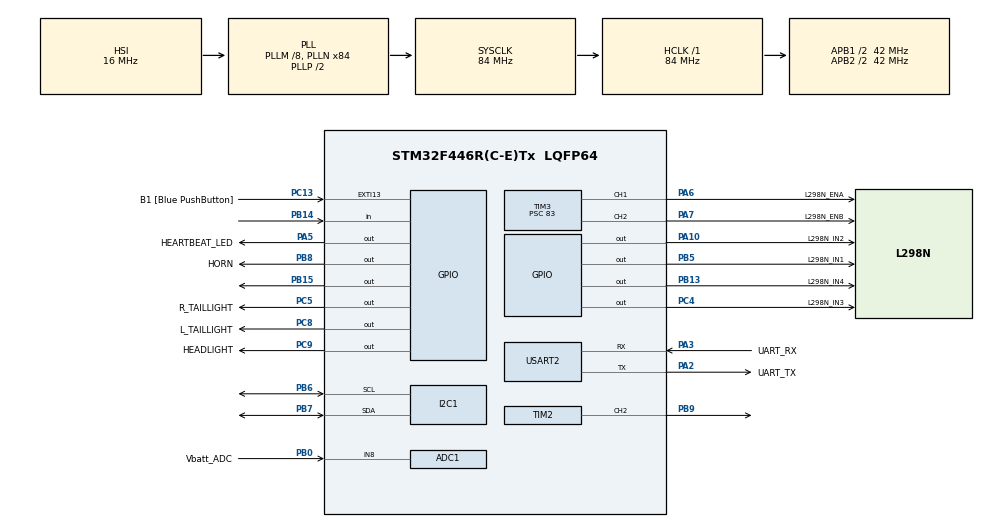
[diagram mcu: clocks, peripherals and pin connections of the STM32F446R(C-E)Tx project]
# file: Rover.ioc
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ADC1.Channel-1\#ChannelRegularConversion=ADC_CHANNEL_8
ADC1.ExternalTrigConv=ADC_EXTERNALTRIGCONV_T8_TRGO
ADC1.NbrOfConversionFlag=1
ADC1.Rank-1\#ChannelRegularConversion=1
ADC1.SamplingTime-1\#ChannelRegularConversion=ADC_SAMPLETIME_3CYCLES
ADC1.master=1
Mcu.Family=STM32F4
Mcu.Name=STM32F446R(C-E)Tx
Mcu.Package=LQFP64
NVIC.ADC_IRQn=true\:0\:0\:false\:false\:true\:true\:true\:true
NVIC.PriorityGroup=NVIC_PRIORITYGROUP_0
NVIC.TIM4_IRQn=true\:0\:0\:false\:false\:true\:true\:true\:true
NVIC.TIM8_BRK_TIM12_IRQn=true\:0\:0\:false\:false\:true\:true\:true\:true
NVIC.USART2_IRQn=true\:0\:0\:false\:false\:true\:true\:true\:true
PA10.GPIO_Label=L298N_IN2
PA10.Signal=GPIO_Output
PA13.GPIO_Label=TMS
PA13.Signal=SYS_JTMS-SWDIO
PA14.GPIO_Label=TCK
PA14.Signal=SYS_JTCK-SWCLK
PA2.GPIO_Label=UART_TX
PA2.Mode=Asynchronous
PA2.Signal=USART2_TX
PA3.GPIO_Label=UART_RX
PA3.Mode=Asynchronous
PA3.Signal=USART2_RX
PA5.GPIO_Label=HEARTBEAT_LED
PA5.Signal=GPIO_Output
PA6.GPIO_Label=L298N_ENA
PA6.Signal=S_TIM3_CH1
PA7.GPIO_Label=L298N_ENB
PA7.Signal=S_TIM3_CH2
PB0.GPIO_Label=Vbatt_ADC
PB0.Signal=ADCx_IN8
PB13.GPIO_Label=L298N_IN4
PB13.Signal=GPIO_Output
PB14.Signal=GPIO_Input
PB15.Signal=GPIO_Output
PB3.GPIO_Label=SWO
PB3.Signal=SYS_JTDO-SWO
PB5.GPIO_Label=L298N_IN1
PB5.Signal=GPIO_Output
PB6.Mode=I2C
PB6.Signal=I2C1_SCL
PB7.Mode=I2C
PB7.Signal=I2C1_SDA
PB8.GPIO_Label=HORN
PB8.Signal=GPIO_Output
PB9.Signal=S_TIM2_CH2
PC13.GPIO_Label=B1 [Blue PushButton]
PC13.GPIO_ModeDefaultEXTI=GPIO_MODE_IT_FALLING
PC13.Signal=GPXTI13
PC14-OSC32_IN.Signal=RCC_OSC32_IN
PC15-OSC32_OUT.Signal=RCC_OSC32_OUT
PC4.GPIO_Label=L298N_IN3
PC4.Signal=GPIO_Output
PC5.GPIO_Label=R_TAILLIGHT
PC5.Signal=GPIO_Output
PC8.GPIO_Label=L_TAILLIGHT
PC8.Signal=GPIO_Output
PC9.GPIO_Label=HEADLIGHT
PC9.Signal=GPIO_Output
PH0-OSC_IN.Signal=RCC_OSC_IN
PH1-OSC_OUT.Signal=RCC_OSC_OUT
ProjectManager.HeapSize=0x200
ProjectManager.StackSize=0x400
ProjectManager.TargetToolchain=STM32CubeIDE
RCC.AHBFreq_Value=84000000
RCC.APB1CLKDivider=RCC_HCLK_DIV2
RCC.APB1Freq_Value=42000000
RCC.APB1TimFreq_Value=84000000
RCC.APB2CLKDivider=RCC_HCLK_DIV2
RCC.APB2Freq_Value=42000000
RCC.APB2TimFreq_Value=84000000
RCC.CortexFreq_Value=84000000
RCC.FLatency-AdvancedSettings=FLASH_LATENCY_2
RCC.HCLKFreq_Value=84000000
RCC.HSE_VALUE=8000000
RCC.HSI_VALUE=16000000
RCC.LSE_VALUE=32768
RCC.PLLM=8
RCC.PLLN=84
RCC.SYSCLKFreq_VALUE=84000000
RCC.SYSCLKSource=RCC_SYSCLKSOURCE_PLLCLK
RCC.USBFreq_Value=84000000
RCC.VCOOutputFreq_Value=168000000
SH.ADCx_IN8.0=ADC1_IN8,IN8
SH.S_TIM2_CH2.0=TIM2_CH2,PWM Generation2 CH2
SH.S_TIM3_CH1.0=TIM3_CH1,PWM Generation1 CH1
SH.S_TIM3_CH2.0=TIM3_CH2,PWM Generation2 CH2
TIM12.Period=65535
TIM12.Prescaler=84-1
TIM2.Channel-PWM\ Generation2\ CH2=TIM_CHANNEL_2
TIM2.Period=4000-1
TIM2.Prescaler=84-1
TIM3.Channel-PWM\ Generation1\ CH1=TIM_CHANNEL_1
TIM3.Channel-PWM\ Generation2\ CH2=TIM_CHANNEL_2
TIM3.Period=3999
TIM3.Prescaler=83
TIM4.Period=500-1
TIM4.Prescaler=8400-1
TIM8.Period=10000-1
TIM8.Prescaler=840-1
TIM8.TIM_MasterOutputTrigger=TIM_TRGO_UPDATE
USART2.VirtualMode=VM_ASYNC
VP_TIM12_VS_ClockSourceINT.Mode=Internal
VP_TIM2_VS_ClockSourceINT.Mode=Internal
VP_TIM3_VS_ClockSourceINT.Mode=Internal
VP_TIM4_VS_ClockSourceINT.Mode=Internal
VP_TIM8_VS_ClockSourceINT.Mode=Internal
board=NUCLEO-F446RE

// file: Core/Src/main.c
/* USER CODE BEGIN Header */
/**
  ******************************************************************************
  * @file           : main.c
  * @brief          : Main program body
  ******************************************************************************
  * @attention
  *
  * Copyright (c) 2025 STMicroelectronics.
  * All rights reserved.
  *
  * This software is licensed under terms that can be found in the LICENSE file
  * in the root directory of this software component.
  * If no LICENSE file comes with this software, it is provided AS-IS.
  *
  ******************************************************************************
  */
/* USER CODE END Header */
#include "main.h"
#include "adc.h"
#include "i2c.h"
#include "tim.h"
#include "usart.h"
#include "gpio.h"

/* USER CODE BEGIN Includes */
#include <stdint.h>
#include <stdio.h>
#include <string.h>
#include "Command_Process.h"
#include "liquidcrystal_i2c.h"
#include "motor.h"
/* USER CODE END Includes */

/* USER CODE BEGIN PV */

// LED VARRIBLES
//No longer needed, due to being defined in motor?
//uint8_t left_turn_active = 0; // for turn signals, 0 = off, 1 = blinking
//uint8_t right_turn_active = 0;
uint8_t horn = 0;

uint8_t stop_distance = 75; // in cm ok

uint8_t turn_around_time = 3600;

#define TRIG_PIN GPIO_PIN_15
#define TRIG_PORT GPIOB
#define ECHO_PIN GPIO_PIN_14
#define ECHO_PORT GPIOB
uint32_t pMillis;
uint32_t Value1 = 0;
uint32_t Value2 = 0;
uint16_t Distance  = 0;  // cm
char buffer[6];
uint32_t servo_millis=0;
uint32_t servo_state=0; //State 2 is left or right, state 1 is forward.
// These time variables are used to determine how long it takes the rover to
// get to the end of the hallway, then run for that amount of time on the way back.
uint32_t startTime = 0;
uint32_t stopTime = 0;
uint32_t diffTime = 0;

// enum for the robot movement state machines
typedef enum {
    STATE_DRIVING_FORWARD,
	STATE_PAUSING_To_TURN,
	STATE_STOP_TURNING,
	STATE_DRIVING_BACK,
	STATE_PURELY_PAUSING
} RobotState;

RobotState robot_state = STATE_DRIVING_FORWARD; // start the state machine in driving forwards
uint32_t   motor_millis = 0;

/* USER CODE END PV */

void SystemClock_Config(void);

/* USER CODE BEGIN 0 */

// LED CODE WE HAD ISSUES WITH THIS DURING TESTING THE BRAKE LIGHTS
// COMMENTING IT OUT FIXED THE ISSUES SHOULD CONSIDER REMOVING IT SOON

//void HAL_TIM_PeriodElapsedCallback(TIM_HandleTypeDef *htim) {
//	if (htim->Instance == TIM4) {
//	if (left_turn_active) {
//	HAL_GPIO_TogglePin(L_TAILLIGHT_GPIO_Port, L_TAILLIGHT_Pin);
//	}
//	else {
//	// Make sure the light is forced off when not turning
//	// HAL_GPIO_WritePin(L_TAILLIGHT_GPIO_Port, L_TAILLIGHT_Pin, GPIO_PIN_RESET);
//		HAL_GPIO_WritePin(L_TAILLIGHT_GPIO_Port, L_TAILLIGHT_Pin, GPIO_PIN_RESET);
//	}
//	if (right_turn_active) {
//	HAL_GPIO_TogglePin(R_TAILLIGHT_GPIO_Port, R_TAILLIGHT_Pin);
//	}
//	else {
//	// HAL_GPIO_WritePin(R_TAILLIGHT_GPIO_Port, R_TAILLIGHT_Pin, GPIO_PIN_RESET);
//		HAL_GPIO_WritePin(R_TAILLIGHT_GPIO_Port, R_TAILLIGHT_Pin, GPIO_PIN_RESET);
//	}
//
//	// horn
//	if (horn) {
//	HAL_GPIO_TogglePin(HORN_GPIO_Port, HORN_Pin);
//	} else {
//	// HAL_GPIO_WritePin(HORN_GPIO_Port, HORN_Pin, GPIO_PIN_RESET);
//		HAL_GPIO_WritePin(HORN_GPIO_Port, HORN_Pin, GPIO_PIN_RESET);
//				}
//	}
//}

// READ ULTRA PINGER
float readaltra(void){

	HAL_GPIO_WritePin(TRIG_PORT, TRIG_PIN, GPIO_PIN_SET);  // pull the TRIG pin HIGH
	__HAL_TIM_SET_COUNTER(&htim12, 0);
	while (__HAL_TIM_GET_COUNTER (&htim12) < 10);  // wait for 10 us
	HAL_GPIO_WritePin(TRIG_PORT, TRIG_PIN, GPIO_PIN_RESET);  // pull the TRIG pin low

	pMillis = HAL_GetTick(); // used this to avoid infinite while loop  (for timeout)
	// wait for the echo pin to go high
	while (!(HAL_GPIO_ReadPin (ECHO_PORT, ECHO_PIN)) && pMillis + 10 >  HAL_GetTick());
	Value1 = __HAL_TIM_GET_COUNTER (&htim12);

	pMillis = HAL_GetTick(); // used this to avoid infinite while loop (for timeout)
	// wait for the echo pin to go low
	while ((HAL_GPIO_ReadPin (ECHO_PORT, ECHO_PIN)) && pMillis + 50 > HAL_GetTick());
	Value2 = __HAL_TIM_GET_COUNTER (&htim12);

	Distance = (Value2-Value1)* 0.034/2;

	snprintf(buffer, sizeof(buffer), "%d", Distance);
	char out[16];
	snprintf(out, sizeof(out), " %s\r\n", buffer);
//	HAL_Delay(50);
//	print("%s", out);

//	HD44780_Clear();
//	HD44780_SetCursor(0,0);
//	HD44780_PrintStr(buffer);
//	HAL_Delay(50);
//	__enable_irq();
	return Distance;
}

// SERVO CODE TO PING ON WAY DOWN

void moveServo_right_forward(void){

	//Non-blocking version of the code
	if (servo_millis == 0){
		servo_millis = HAL_GetTick();
		servo_state = 1;
	}
	else if (HAL_GetTick() - servo_millis >= 800  && servo_state == 1){
		__HAL_TIM_SET_COMPARE(&htim2, TIM_CHANNEL_2, 500);   // ~0°
		servo_millis = HAL_GetTick(); //Reset Back to 0
		servo_state = 2;
	}
	else if (HAL_GetTick() - servo_millis >= 1400 && servo_state == 2){
		__HAL_TIM_SET_COMPARE(&htim2, TIM_CHANNEL_2, 1500);   // ~90°
		servo_millis = HAL_GetTick();
		servo_state = 1;
	}

//	if(servo_millis- HAL_GetTick())

}

// SERVO CODE TO PING ON WAY BACK

void moveServo_left_forward(void){
	if (servo_millis == 0){
			servo_millis = HAL_GetTick();
			servo_state = 1;
	}
else if (HAL_GetTick() - servo_millis >= 800 && servo_state == 1){
		__HAL_TIM_SET_COMPARE(&htim2, TIM_CHANNEL_2, 2500);   // ~180°
		servo_millis = HAL_GetTick(); //Reset Back to 0
		servo_state = 2;
	}
	else if (HAL_GetTick() - servo_millis >= 1400 && servo_state == 2){
		__HAL_TIM_SET_COMPARE(&htim2, TIM_CHANNEL_2, 1500);   // ~90°
		servo_millis = HAL_GetTick(); //Reset Back to 0
		servo_state = 1;
	}
}

// BATTERY MONITORING FUNCTION THAT KILLS ROBOT IF LOW POWER

void battery_voltage_shutdown(void){
	// bat mon shut down stuff
			float voltage = getBatteryVoltage();

			if (voltage < 6.0f && voltage > 1.0f) {
			HAL_TIM_PWM_Stop(&htim3, TIM_CHANNEL_1);
			HAL_TIM_PWM_Stop(&htim3, TIM_CHANNEL_2);
			int millivolts = (int)(voltage * 1000.0f + 0.5f);
						int volts = millivolts / 1000;
						int frac = millivolts % 1000;
						print(" %d.%03d\r\n", volts, frac);

			// Pls Turn off lights.
			while (1==1){
			//Die XP
			}
			}

}

void TurnSignals(void) { //Credit goes to grok.
    static uint32_t t_turn = 0;
    static uint8_t  blink_on = 0;

    // Same 250 ms cadence as HeartBeat
    if (HAL_GetTick() >= t_turn) {
        blink_on = !blink_on;
        t_turn += 250;
    }

    // Brake lights take priority — solid on, no blinking
    // (BREAKLIGHTS() already forces both pins; we just don't override them here
    //  if you call this only when not braking. Or explicitly:)
    if (left_turn_active && !right_turn_active) {
        HAL_GPIO_WritePin(L_TAILLIGHT_GPIO_Port, L_TAILLIGHT_Pin,
                          blink_on ? GPIO_PIN_SET : GPIO_PIN_RESET);
        HAL_GPIO_WritePin(R_TAILLIGHT_GPIO_Port, R_TAILLIGHT_Pin, GPIO_PIN_RESET);
    }
    else if (right_turn_active && !left_turn_active) {
        HAL_GPIO_WritePin(R_TAILLIGHT_GPIO_Port, R_TAILLIGHT_Pin,
                          blink_on ? GPIO_PIN_SET : GPIO_PIN_RESET);
        HAL_GPIO_WritePin(L_TAILLIGHT_GPIO_Port, L_TAILLIGHT_Pin, GPIO_PIN_RESET);
    }
    else if (!left_turn_active && !right_turn_active) {
        // neither turning — leave pins alone so BREAKLIGHTS() can own them
        // (or force off if you prefer)
    }
}

// START UP COMMAND TO SHOW ALL LIGHTS AND THE HORN SYSTEM WORK PER REQUIREMENTS

void bist(void){
	 //  more led stuff
	  HEADLIGHTS();
	  for (uint32_t start_tick = HAL_GetTick(); (HAL_GetTick() - start_tick) < 2000;) {

	  }
	  HEADLIGHTS();

	 // horn = 1;
	  HORN(GPIO_PIN_SET);
	  for (uint32_t start_tick = HAL_GetTick(); (HAL_GetTick() - start_tick) < 1000;) {

	  }
	 // horn = 0;
	  HORN(GPIO_PIN_RESET);

	  left_turn_active = 1;
	  for (uint32_t start_tick = HAL_GetTick(); (HAL_GetTick() - start_tick) < 2000;) {

	  }
	  left_turn_active = 0;

	  right_turn_active = 1;
	  for (uint32_t start_tick = HAL_GetTick(); (HAL_GetTick() - start_tick) < 2000;) {

	  }
	  right_turn_active = 0;

}

/* USER CODE END 0 */

int main(void)
{

  /* MCU Configuration--------------------------------------------------------*/

  /* Reset of all peripherals, Initializes the Flash interface and the Systick. */
  HAL_Init();

  /* Configure the system clock */
  SystemClock_Config();

  /* Initialize all configured peripherals */
  MX_GPIO_Init();
  MX_USART2_UART_Init();
  MX_TIM2_Init();
  MX_TIM12_Init();
  MX_I2C1_Init();
  MX_ADC1_Init();
  MX_TIM3_Init();
  MX_TIM8_Init();
  MX_TIM4_Init();
  /* USER CODE BEGIN 2 */

  // bat mon stuff
  HAL_TIM_Base_Start(&htim8);
  HAL_ADC_Start_IT(&hadc1);

  // starts timers for the motors
  HAL_TIM_PWM_Start(&htim3, TIM_CHANNEL_1);
  HAL_TIM_PWM_Start(&htim3, TIM_CHANNEL_2);

  // Light and horn timer
  HAL_TIM_Base_Start_IT(&htim4);

  // sets timer for pinger or servo
  HAL_TIM_PWM_Start(&htim2, TIM_CHANNEL_2);

  HAL_TIM_Base_Start(&htim12);
  HAL_GPIO_WritePin(TRIG_PORT, TRIG_PIN, GPIO_PIN_RESET);  // pull the TRIG pin low
//    HD44780_Init(2);
//    HD44780_Clear();
//    HD44780_SetCursor(0,0);
//    HD44780_PrintStr("HC-SR04");
    HAL_Delay(250);
  /* USER CODE END 2 */

  /* Infinite loop */
  /* USER CODE BEGIN WHILE */
  print("\033[H\033[2J");
  print("Rover v0.1 %s %s\r\n\r\n", __DATE__, __TIME__);
  battery_voltage_shutdown();

  // boot up delay
//  HAL_Delay(500);

  // startup for leds and horn
//  bist();

  startTime = HAL_GetTick(); // start the "timer" for how long it takes to go down the hall (one way)
  set_default_motor_speed();
  while (1)
  {

 // tasks that are always running

		HeartBeat();
		TurnSignals();   // same 250 ms rhythm
		Command_Proc();
		battery_voltage_shutdown();

		// logic to control movement for the project phase

		// This should stop the rover on the way back. Subtracting 7200 for the time it takes to turn around.
		if (HAL_GetTick() - stopTime - turn_around_time >= diffTime && robot_state == STATE_DRIVING_BACK) {
				stop();
				BREAKLIGHTS(GPIO_PIN_SET);
				for (uint32_t start_tick = HAL_GetTick(); (HAL_GetTick() - start_tick) < 1000;) {}
				BREAKLIGHTS(GPIO_PIN_SET);
				while(1){}
		}

		// THIS SWITCH BELOW IS HUGE should help us going forward
		// Lachlan you should be able to set up your own cases that will correct it left vs. right
		// I also think the timer here may help us remember where we started I am not sure though

		// switch loop to control the conditions for driving the robot
		 switch (robot_state)
		  {
		 	 // default drive forward that stops when 2ft from object sets break lights
		    case STATE_DRIVING_FORWARD:
		        if (readaltra() <= stop_distance && servo_state == 1 && HAL_GetTick() - servo_millis >= 300){
		        	print(" I'm Braking!\r\n");
					BREAKLIGHTS(GPIO_PIN_SET);
					stop();
					motor_millis = HAL_GetTick();
					robot_state = STATE_PAUSING_To_TURN;
		        } else {
		            BREAKLIGHTS(GPIO_PIN_RESET);
		            forward();
		            moveServo_right_forward(); // servo control on the way down the hall

		            if (servo_state == 2 && (HAL_GetTick() - servo_millis) >= 200) {
		                float d = readaltra();
		                const float target   = 105.0f;
		                const float deadband = 6.0f;
		                const float kp       = 0.0350f;   // tune this

		                if (d > 15.0f && d < 250.0f) {
		                    float error = d - target;   // + = too far, − = too close

		                    if (error > deadband || error < -deadband) {
		                        // correction grows with how far off you are
		                        float adj = kp * error;          // can be positive or negative
		                        // limit how hard you can kick in one reading
		                        if (adj >  1.5f) adj =  1.5f;
		                        if (adj < -1.5f) adj = -1.5f;

		                        // too far (error > 0) → speed left, slow right
		                        // too close (error < 0) → slow left, speed right
		                        left_percentage  += adj;
		                        right_percentage -= adj * 0.7f;
		                    }

		                    // clamps
		                    if (left_percentage  < 30.0f) left_percentage  = 30.0f;
		                    if (left_percentage  > 85.0f) left_percentage  = 85.0f;
		                    if (right_percentage < 30.0f) right_percentage = 30.0f;
		                    if (right_percentage > 85.0f) right_percentage = 85.0f;
		                }
		            }
		                const float left_default  = 55.55f;   // match set_default_motor_speed()
						const float right_default = 50.0f;
						left_percentage  += (left_default  - left_percentage)  * 0.02f;
						right_percentage += (right_default - right_percentage) * 0.02f;
						if (servo_state == 1 && (HAL_GetTick() - servo_millis) >= 300) {
							float front = readaltra();
							if (front > 60.0f && front < 100.0f) {
								float scale = (front - 60.0f) / 60.0f;  // 1.0 at 120 cm → 0 at 60 cm
								if (scale < 0.4f) scale = 0.4f;
								left_percentage  = 55.55f * scale;
								right_percentage = 50.0f  * scale;
							}
						}
		        }

		        break;

		     // state to wait 3 seconds to make sure it is wall and not random obstacle person or bad data
		     // will go back to driving forward if it is not a wall otherwise to moves on to turn around
		    case STATE_PAUSING_To_TURN:
		        if (readaltra() > stop_distance && servo_state == 1){
		            robot_state = STATE_DRIVING_FORWARD;           // path cleared
		        } else if (HAL_GetTick() - motor_millis >= 3000){
		        		stopTime = HAL_GetTick(); // stop the "timer" for how long it takes to go down the hall one way
		        		diffTime = stopTime - startTime - 3000; // subtract startTime from stopTime to determine how long it took, subtract 3000 for time waiting.
		            turn_around();
		            motor_millis = HAL_GetTick();
		            robot_state = STATE_STOP_TURNING;
		        }

		        break;

		     // this is the turning around case that counts how long it turns around before moving forward again
		    case STATE_STOP_TURNING:
		        if (HAL_GetTick() - motor_millis >= turn_around_time){
		            stop();
		            left_turn_active = 0;          // stop blinking
					right_turn_active = 0;
		            BREAKLIGHTS(GPIO_PIN_RESET);
		            robot_state = STATE_DRIVING_BACK;
		        }
		        break;

		    case STATE_DRIVING_BACK:
		    	if (readaltra() <= stop_distance && servo_state == 1 && HAL_GetTick() - servo_millis >= 300){
		    		BREAKLIGHTS(GPIO_PIN_SET);
		    		stop();
		    		motor_millis = HAL_GetTick();
		    		robot_state = STATE_PURELY_PAUSING;
		        } else {
		        	BREAKLIGHTS(GPIO_PIN_RESET);
		    	    forward();
		    	    moveServo_left_forward(); // servo control on the way back the hall
		    	    if (servo_state == 2 && (HAL_GetTick() - servo_millis) >= 200) {
						float d = readaltra();
						const float target   = 105.0f;
						const float deadband = 6.0f;
						const float kp       = 0.016f;   // tune this

						if (d > 15.0f && d < 250.0f) {
							float error = d - target;   // + = too far, − = too close

							if (error > deadband || error < -deadband) {
								// correction grows with how far off you are
								float adj = kp * error;          // can be positive or negative
								// limit how hard you can kick in one reading
								if (adj >  1.5f) adj =  1.5f;
								if (adj < -1.5f) adj = -1.5f;

								// too far (error < 0)
								// too close (error > 0)
								left_percentage  -= adj;
								right_percentage += adj * 0.7f;
							}

							// clamps
							if (left_percentage  < 30.0f) left_percentage  = 30.0f;
							if (left_percentage  > 85.0f) left_percentage  = 85.0f;
							if (right_percentage < 30.0f) right_percentage = 30.0f;
							if (right_percentage > 85.0f) right_percentage = 85.0f;
						}
					}
						const float left_default  = 55.55f;   // match set_default_motor_speed()
						const float right_default = 50.0f;
						left_percentage  += (left_default  - left_percentage)  * 0.02f;
						right_percentage += (right_default - right_percentage) * 0.02f;
		    	}
		    	break;

		    case STATE_PURELY_PAUSING:

			if (readaltra() > stop_distance && servo_state == 1){
				robot_state = STATE_DRIVING_BACK;           // path cleared
			}
			break;
		    }

    /* USER CODE END WHILE */

  }
}

void SystemClock_Config(void)
{
  RCC_OscInitTypeDef RCC_OscInitStruct = {0};
  RCC_ClkInitTypeDef RCC_ClkInitStruct = {0};

  /** Configure the main internal regulator output voltage
  */
  __HAL_RCC_PWR_CLK_ENABLE();
  __HAL_PWR_VOLTAGESCALING_CONFIG(PWR_REGULATOR_VOLTAGE_SCALE3);

  /** Initializes the RCC Oscillators according to the specified parameters
  * in the RCC_OscInitTypeDef structure.
  */
  RCC_OscInitStruct.OscillatorType = RCC_OSCILLATORTYPE_HSI;
  RCC_OscInitStruct.HSIState = RCC_HSI_ON;
  RCC_OscInitStruct.HSICalibrationValue = RCC_HSICALIBRATION_DEFAULT;
  RCC_OscInitStruct.PLL.PLLState = RCC_PLL_ON;
  RCC_OscInitStruct.PLL.PLLSource = RCC_PLLSOURCE_HSI;
  RCC_OscInitStruct.PLL.PLLM = 8;
  RCC_OscInitStruct.PLL.PLLN = 84;
  RCC_OscInitStruct.PLL.PLLP = RCC_PLLP_DIV2;
  RCC_OscInitStruct.PLL.PLLQ = 2;
  RCC_OscInitStruct.PLL.PLLR = 2;
  if (HAL_RCC_OscConfig(&RCC_OscInitStruct) != HAL_OK)
  {
    Error_Handler();
  }

  /** Initializes the CPU, AHB and APB buses clocks
  */
  RCC_ClkInitStruct.ClockType = RCC_CLOCKTYPE_HCLK|RCC_CLOCKTYPE_SYSCLK
                              |RCC_CLOCKTYPE_PCLK1|RCC_CLOCKTYPE_PCLK2;
  RCC_ClkInitStruct.SYSCLKSource = RCC_SYSCLKSOURCE_PLLCLK;
  RCC_ClkInitStruct.AHBCLKDivider = RCC_SYSCLK_DIV1;
  RCC_ClkInitStruct.APB1CLKDivider = RCC_HCLK_DIV2;
  RCC_ClkInitStruct.APB2CLKDivider = RCC_HCLK_DIV2;

  if (HAL_RCC_ClockConfig(&RCC_ClkInitStruct, FLASH_LATENCY_2) != HAL_OK)
  {
    Error_Handler();
  }
}

void Error_Handler(void)
{
  __disable_irq();
  while (1)
  {
  }
}
